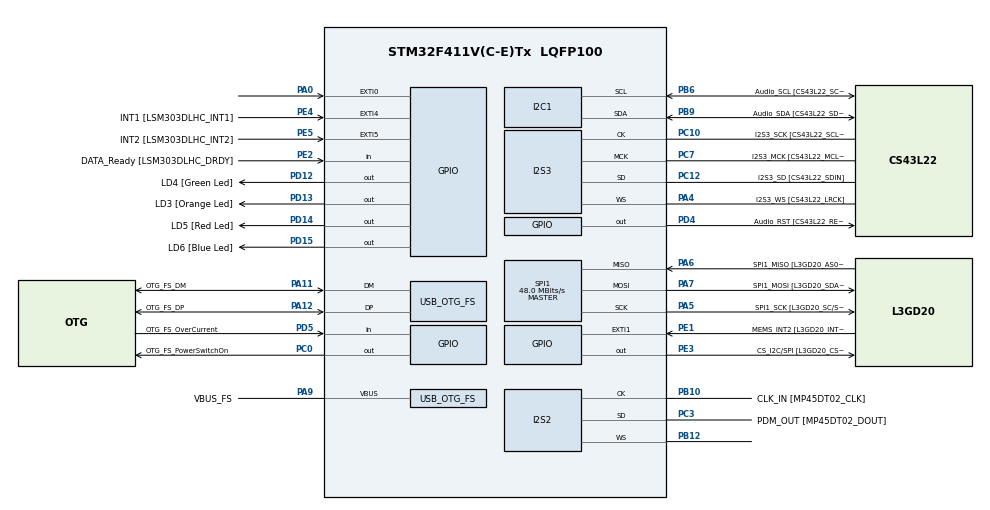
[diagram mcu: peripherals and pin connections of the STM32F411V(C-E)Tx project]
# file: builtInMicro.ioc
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Dma.Request0=SPI3_TX
Dma.Request1=SPI2_RX
Dma.SPI2_RX.1.Direction=DMA_PERIPH_TO_MEMORY
Dma.SPI2_RX.1.FIFOMode=DMA_FIFOMODE_DISABLE
Dma.SPI2_RX.1.Instance=DMA1_Stream3
Dma.SPI2_RX.1.MemDataAlignment=DMA_MDATAALIGN_HALFWORD
Dma.SPI2_RX.1.MemInc=DMA_MINC_ENABLE
Dma.SPI2_RX.1.Mode=DMA_CIRCULAR
Dma.SPI2_RX.1.PeriphDataAlignment=DMA_PDATAALIGN_HALFWORD
Dma.SPI2_RX.1.PeriphInc=DMA_PINC_DISABLE
Dma.SPI2_RX.1.Priority=DMA_PRIORITY_LOW
Dma.SPI3_TX.0.Direction=DMA_MEMORY_TO_PERIPH
Dma.SPI3_TX.0.FIFOMode=DMA_FIFOMODE_DISABLE
Dma.SPI3_TX.0.Instance=DMA1_Stream5
Dma.SPI3_TX.0.MemDataAlignment=DMA_MDATAALIGN_HALFWORD
Dma.SPI3_TX.0.MemInc=DMA_MINC_ENABLE
Dma.SPI3_TX.0.Mode=DMA_CIRCULAR
Dma.SPI3_TX.0.PeriphDataAlignment=DMA_PDATAALIGN_HALFWORD
Dma.SPI3_TX.0.PeriphInc=DMA_PINC_DISABLE
Dma.SPI3_TX.0.Priority=DMA_PRIORITY_LOW
I2S2.AudioFreq=I2S_AUDIOFREQ_48K
I2S2.DataFormat=I2S_DATAFORMAT_32B
I2S2.ErrorAudioFreq=0.15 %
I2S2.FullDuplexMode=I2S_FULLDUPLEXMODE_DISABLE
I2S2.Instance=SPI$Index
I2S2.Mode=I2S_MODE_SLAVE_RX
I2S2.RealAudioFreq=48.076 KHz
I2S2.Standard=I2S_STANDARD_MSB
I2S2.VirtualMode=I2S_MODE_SLAVE
I2S3.AudioFreq=I2S_AUDIOFREQ_48K
I2S3.DataFormat=I2S_DATAFORMAT_24B
I2S3.ErrorAudioFreq=0.15 %
I2S3.FullDuplexMode=I2S_FULLDUPLEXMODE_DISABLE
I2S3.Instance=SPI$Index
I2S3.RealAudioFreq=48.076 KHz
I2S3.VirtualMode=I2S_MODE_MASTER
Mcu.Family=STM32F4
Mcu.Name=STM32F411V(C-E)Tx
Mcu.Package=LQFP100
NVIC.DMA1_Stream3_IRQn=true\:0\:0\:false\:false\:true\:false\:true
NVIC.DMA1_Stream5_IRQn=true\:0\:0\:false\:false\:true\:false\:true
NVIC.OTG_FS_IRQn=true\:0\:0\:false\:false\:true\:true\:true
NVIC.PriorityGroup=NVIC_PRIORITYGROUP_0
PA0-WKUP.GPIO_ModeDefaultEXTI=GPIO_MODE_EVT_RISING
PA0-WKUP.Signal=GPXTI0
PA10.GPIO_Label=OTG_FS_ID
PA10.Signal=USB_OTG_FS_ID
PA11.GPIO_Label=OTG_FS_DM
PA11.Mode=Host_Only
PA11.Signal=USB_OTG_FS_DM
PA12.GPIO_Label=OTG_FS_DP
PA12.Mode=Host_Only
PA12.Signal=USB_OTG_FS_DP
PA13.GPIO_Label=SWDIO
PA13.Mode=Serial_Wire
PA13.Signal=SYS_JTMS-SWDIO
PA14.GPIO_Label=SWCLK
PA14.Mode=Serial_Wire
PA14.Signal=SYS_JTCK-SWCLK
PA4.GPIO_Label=I2S3_WS [CS43L22_LRCK]
PA4.GPIO_Mode=GPIO_MODE_AF_PP
PA4.GPIO_PuPd=GPIO_NOPULL
PA4.GPIO_Speed=GPIO_SPEED_FREQ_LOW
PA4.Mode=Half_Duplex_Master
PA4.Signal=I2S3_WS
PA5.GPIO_Label=SPI1_SCK [L3GD20_SC/SPC]
PA5.Mode=Full_Duplex_Master
PA5.Signal=SPI1_SCK
PA6.GPIO_Label=SPI1_MISO [L3GD20_AS0/SDO]
PA6.Mode=Full_Duplex_Master
PA6.Signal=SPI1_MISO
PA7.GPIO_Label=SPI1_MOSI [L3GD20_SDA/SDI/SDO]
PA7.Mode=Full_Duplex_Master
PA7.Signal=SPI1_MOSI
PA9.GPIO_Label=VBUS_FS
PA9.Mode=Activate_VBUS
PA9.Signal=USB_OTG_FS_VBUS
PB10.GPIO_Label=CLK_IN [MP45DT02_CLK]
PB10.Mode=Half_Duplex_Slave
PB10.Signal=I2S2_CK
PB12.Mode=Half_Duplex_Slave
PB12.Signal=I2S2_WS
PB3.GPIO_Label=SWO
PB3.Signal=SYS_JTDO-SWO
PB6.GPIO_Label=Audio_SCL [CS43L22_SCL]
PB6.GPIO_Mode=GPIO_MODE_AF_OD
PB6.GPIO_PuPd=GPIO_NOPULL
PB6.GPIO_Speed=GPIO_SPEED_FREQ_LOW
PB6.Mode=I2C
PB6.Signal=I2C1_SCL
PB9.GPIO_Label=Audio_SDA [CS43L22_SDA]
PB9.GPIO_Mode=GPIO_MODE_AF_OD
PB9.GPIO_PuPd=GPIO_NOPULL
PB9.GPIO_Speed=GPIO_SPEED_FREQ_LOW
PB9.Mode=I2C
PB9.Signal=I2C1_SDA
PC0.GPIO_Label=OTG_FS_PowerSwitchOn
PC0.PinState=GPIO_PIN_SET
PC0.Signal=GPIO_Output
PC10.GPIO_Label=I2S3_SCK [CS43L22_SCLK]
PC10.GPIO_Mode=GPIO_MODE_AF_PP
PC10.GPIO_PuPd=GPIO_NOPULL
PC10.GPIO_Speed=GPIO_SPEED_FREQ_LOW
PC10.Mode=Half_Duplex_Master
PC10.Signal=I2S3_CK
PC12.GPIO_Label=I2S3_SD [CS43L22_SDIN]
PC12.GPIO_Mode=GPIO_MODE_AF_PP
PC12.GPIO_PuPd=GPIO_NOPULL
PC12.GPIO_Speed=GPIO_SPEED_FREQ_LOW
PC12.Mode=Half_Duplex_Master
PC12.Signal=I2S3_SD
PC14-OSC32_IN.GPIO_Label=PC14-OSC32_IN
PC14-OSC32_IN.Mode=LSE-External-Oscillator
PC14-OSC32_IN.Signal=RCC_OSC32_IN
PC15-OSC32_OUT.GPIO_Label=PC15-OSC32_OUT
PC15-OSC32_OUT.Mode=LSE-External-Oscillator
PC15-OSC32_OUT.Signal=RCC_OSC32_OUT
PC3.GPIO_Label=PDM_OUT [MP45DT02_DOUT]
PC3.Mode=Half_Duplex_Slave
PC3.Signal=I2S2_SD
PC7.GPIO_Label=I2S3_MCK [CS43L22_MCLK]
PC7.GPIO_Mode=GPIO_MODE_AF_PP
PC7.GPIO_PuPd=GPIO_NOPULL
PC7.GPIO_Speed=GPIO_SPEED_FREQ_LOW
PC7.Mode=Master_Clock_Activated
PC7.Signal=I2S3_MCK
PD12.GPIO_Label=LD4 [Green Led]
PD12.GPIO_PuPd=GPIO_NOPULL
PD12.GPIO_Speed=GPIO_SPEED_FREQ_LOW
PD12.Signal=GPIO_Output
PD13.GPIO_Label=LD3 [Orange Led]
PD13.GPIO_PuPd=GPIO_NOPULL
PD13.GPIO_Speed=GPIO_SPEED_FREQ_LOW
PD13.Signal=GPIO_Output
PD14.GPIO_Label=LD5 [Red Led]
PD14.GPIO_PuPd=GPIO_NOPULL
PD14.GPIO_Speed=GPIO_SPEED_FREQ_LOW
PD14.Signal=GPIO_Output
PD15.GPIO_Label=LD6 [Blue Led]
PD15.GPIO_PuPd=GPIO_NOPULL
PD15.GPIO_Speed=GPIO_SPEED_FREQ_LOW
PD15.Signal=GPIO_Output
PD4.GPIO_Label=Audio_RST [CS43L22_RESET]
PD4.Signal=GPIO_Output
PD5.GPIO_Label=OTG_FS_OverCurrent
PD5.Signal=GPIO_Input
PDM2PCM.CHANNEL1_bit_order=PDM_FILTER_BIT_ORDER_MSB
PDM2PCM.CHANNEL1_in_ptr_channels=1
PDM2PCM.CHANNEL1_out_ptr_channels=1
PE1.GPIO_Label=MEMS_INT2 [L3GD20_INT2]
PE1.GPIO_ModeDefaultEXTI=GPIO_MODE_EVT_RISING
PE1.Signal=GPXTI1
PE2.GPIO_Label=DATA_Ready [LSM303DLHC_DRDY]
PE2.Signal=GPIO_Input
PE3.GPIO_Label=CS_I2C/SPI [L3GD20_CS_I2C/SPI]
PE3.Signal=GPIO_Output
PE4.GPIO_Label=INT1 [LSM303DLHC_INT1]
PE4.GPIO_ModeDefaultEXTI=GPIO_MODE_EVT_RISING
PE4.Signal=GPXTI4
PE5.GPIO_Label=INT2 [LSM303DLHC_INT2]
PE5.GPIO_ModeDefaultEXTI=GPIO_MODE_EVT_RISING
PE5.Signal=GPXTI5
PH0\ -\ OSC_IN.GPIO_Label=PH0-OSC_IN
PH0\ -\ OSC_IN.Mode=HSE-External-Clock-Source
PH0\ -\ OSC_IN.Signal=RCC_OSC_IN
PH1\ -\ OSC_OUT.GPIO_Label=PH1-OSC_OUT
PH1\ -\ OSC_OUT.Mode=HSE-External-Clock-Source
PH1\ -\ OSC_OUT.Signal=RCC_OSC_OUT
ProjectManager.HeapSize=0x200
ProjectManager.StackSize=0x400
ProjectManager.TargetToolchain=STM32CubeIDE
RCC.48MHZClocksFreq_Value=48000000
RCC.AHBFreq_Value=96000000
RCC.APB1CLKDivider=RCC_HCLK_DIV4
RCC.APB1Freq_Value=24000000
RCC.APB1TimFreq_Value=48000000
RCC.APB2Freq_Value=96000000
RCC.APB2TimFreq_Value=96000000
RCC.CortexFreq_Value=96000000
RCC.HCLKFreq_Value=96000000
RCC.HSE_VALUE=8000000
RCC.HSI_VALUE=16000000
RCC.PLLI2SM=5
RCC.PLLI2SN=200
RCC.PLLM=4
RCC.PLLP=RCC_PLLP_DIV4
RCC.PLLQ=8
RCC.SYSCLKFreq_VALUE=96000000
RCC.SYSCLKSource=RCC_SYSCLKSOURCE_PLLCLK
RCC.VCOOutputFreq_Value=384000000
SPI1.BaudRatePrescaler=SPI_BAUDRATEPRESCALER_2
SPI1.CalculateBaudRate=48.0 MBits/s
SPI1.Direction=SPI_DIRECTION_2LINES
SPI1.Mode=SPI_MODE_MASTER
SPI1.VirtualType=VM_MASTER
USB_HOST.BSP.number=1
USB_HOST.USBH_HandleTypeDef=hUsbHostFS
USB_HOST.VirtualModeFS=Cdc
USB_HOST0.BSP.STBoard=false
USB_HOST0.BSP.api=Unknown
USB_HOST0.BSP.i2caddr=0
USB_HOST0.BSP.i2creg=0
USB_HOST0.BSP.instance=PC0
USB_HOST0.BSP.ip=GPIO
USB_HOST0.BSP.mode=Output
USB_HOST0.BSP.name=Drive_VBUS_FS
USB_HOST0.BSP.solution=PC0
USB_OTG_FS.VirtualMode=Host_Only
USB_OTG_FS.phy_itface=HCD_PHY_EMBEDDED
VP_CRC_VS_CRC.Mode=CRC_Activate
VP_PDM2PCM_VS_PDM2PCM.Mode=PDM2PCM_Channel
VP_USB_HOST_VS_USB_HOST_CDC_FS.Mode=CDC_FS
board=STM32F411E-DISCO

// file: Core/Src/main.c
/* USER CODE BEGIN Header */
/**
  ******************************************************************************
  * @file           : main.c
  * @brief          : Main program body
  ******************************************************************************
  * @attention
  *
  * <h2><center>&copy; Copyright (c) 2020 STMicroelectronics.
  * All rights reserved.</center></h2>
  *
  * This software component is licensed by ST under Ultimate Liberty license
  * SLA0044, the "License"; You may not use this file except in compliance with
  * the License. You may obtain a copy of the License at:
  *                             www.st.com/SLA0044
  *
  ******************************************************************************
  */
/* USER CODE END Header */
#include "main.h"
#include "crc.h"
#include "dma.h"
#include "i2c.h"
#include "i2s.h"
#include "pdm2pcm.h"
#include "spi.h"
#include "usb_device.h"
#include "gpio.h"

CRC_HandleTypeDef hcrc;

I2S_HandleTypeDef hi2s2;
I2S_HandleTypeDef hi2s3;
DMA_HandleTypeDef hdma_spi2_rx;
DMA_HandleTypeDef hdma_spi3_tx;

void SystemClock_Config(void);
void SystemClock_Config(void);
static void MX_GPIO_Init(void);
static void MX_DMA_Init(void);
static void MX_I2S2_Init(void);
static void MX_I2S3_Init(void);
static void MX_CRC_Init(void);

uint16_t txBuf[128];
uint16_t pdmRxBuf[128];
uint16_t MidBuffer[16];
uint8_t txstate = 0;
uint8_t rxstate = 0;

uint16_t fifobuf[256];
uint8_t fifo_w_ptr = 0;
uint8_t fifo_r_ptr = 0;
uint8_t fifo_read_enabled = 0;

void FifoWrite(uint16_t data) {
  fifobuf[fifo_w_ptr] = data;
  fifo_w_ptr++;
}

uint16_t FifoRead() {
  uint16_t val = fifobuf[fifo_r_ptr];
  fifo_r_ptr++;
  return val;
}

int main(void)
{

  /* MCU Configuration--------------------------------------------------------*/

  /* Reset of all peripherals, Initializes the Flash interface and the Systick. */
  HAL_Init();

  /* Configure the system clock */
  SystemClock_Config();

  /* Initialize all configured peripherals */
  MX_GPIO_Init();
  MX_DMA_Init();
  MX_I2C1_Init();
  MX_I2S2_Init();
  MX_I2S3_Init();
  MX_SPI1_Init();
  MX_USB_DEVICE_Init();
  MX_CRC_Init();
  MX_PDM2PCM_Init();
  HAL_I2S_Transmit_DMA(&hi2s3, &txBuf[0], 64);
  HAL_I2S_Receive_DMA(&hi2s2, &pdmRxBuf[0],64);
  /* Infinite loop */
  while (1)
  {

    /* USER CODE BEGIN 3 */
    if (rxstate==1) {
          PDM_Filter(&pdmRxBuf[0],&MidBuffer[0], &PDM1_filter_handler);
          for (int i=0; i<16;i++) { FifoWrite(MidBuffer[i]); }
          if (fifo_w_ptr-fifo_r_ptr > 128) fifo_read_enabled=1;
          rxstate=0;

        }

    if (rxstate==2) {
      PDM_Filter(&pdmRxBuf[64],&MidBuffer[0], &PDM1_filter_handler);
      for (int i=0; i<16;i++) { FifoWrite(MidBuffer[i]); }
      rxstate=0;

    }

    if (txstate==1) {
      if (fifo_read_enabled==1) {
      HAL_GPIO_TogglePin(GPIOD, GPIO_PIN_15);
      for (int i=0; i<64;i=i+4) {
        uint16_t data = FifoRead();
        txBuf[i] = data;
        txBuf[i+2] = data;
      }
      }
      txstate=0;
    }

    if (txstate==2) {
      if (fifo_read_enabled==1) {
      for (int i=64; i<128;i=i+4) {
        uint16_t data = FifoRead();
        txBuf[i] = data;
        txBuf[i+2] = data;
      }

    }
      txstate=0;
    }
  }
/* USER CODE END 3 */
}

void HAL_I2S_TxHalfCpltCallback (I2S_HandleTypeDef *hi2s) {
txstate = 1;
}

void HAL_I2S_TxCpltCallback (I2S_HandleTypeDef *hi2s) {
txstate = 2;
}

void HAL_I2S_RxHalfCpltCallback (I2S_HandleTypeDef *hi2s) {
rxstate = 1;
}

void HAL_I2S_RxCpltCallback (I2S_HandleTypeDef *hi2s) {
rxstate = 2;
}

void SystemClock_Config(void)
{
RCC_OscInitTypeDef RCC_OscInitStruct = {0};
RCC_ClkInitTypeDef RCC_ClkInitStruct = {0};
RCC_PeriphCLKInitTypeDef PeriphClkInitStruct = {0};

/** Configure the main internal regulator output voltage
*/
__HAL_RCC_PWR_CLK_ENABLE();
__HAL_PWR_VOLTAGESCALING_CONFIG(PWR_REGULATOR_VOLTAGE_SCALE1);
/** Initializes the RCC Oscillators according to the specified parameters
* in the RCC_OscInitTypeDef structure.
*/
RCC_OscInitStruct.OscillatorType = RCC_OSCILLATORTYPE_HSE;
RCC_OscInitStruct.HSEState = RCC_HSE_BYPASS;
RCC_OscInitStruct.PLL.PLLState = RCC_PLL_ON;
RCC_OscInitStruct.PLL.PLLSource = RCC_PLLSOURCE_HSE;
RCC_OscInitStruct.PLL.PLLM = 4;
RCC_OscInitStruct.PLL.PLLN = 192;
RCC_OscInitStruct.PLL.PLLP = RCC_PLLP_DIV4;
RCC_OscInitStruct.PLL.PLLQ = 8;
if (HAL_RCC_OscConfig(&RCC_OscInitStruct) != HAL_OK)
{
Error_Handler();
}
/** Initializes the CPU, AHB and APB buses clocks
*/
RCC_ClkInitStruct.ClockType = RCC_CLOCKTYPE_HCLK|RCC_CLOCKTYPE_SYSCLK
                          |RCC_CLOCKTYPE_PCLK1|RCC_CLOCKTYPE_PCLK2;
RCC_ClkInitStruct.SYSCLKSource = RCC_SYSCLKSOURCE_PLLCLK;
RCC_ClkInitStruct.AHBCLKDivider = RCC_SYSCLK_DIV1;
RCC_ClkInitStruct.APB1CLKDivider = RCC_HCLK_DIV4;
RCC_ClkInitStruct.APB2CLKDivider = RCC_HCLK_DIV1;

if (HAL_RCC_ClockConfig(&RCC_ClkInitStruct, FLASH_LATENCY_3) != HAL_OK)
{
Error_Handler();
}
PeriphClkInitStruct.PeriphClockSelection = RCC_PERIPHCLK_I2S;
PeriphClkInitStruct.PLLI2S.PLLI2SN = 200;
PeriphClkInitStruct.PLLI2S.PLLI2SM = 5;
PeriphClkInitStruct.PLLI2S.PLLI2SR = 2;
if (HAL_RCCEx_PeriphCLKConfig(&PeriphClkInitStruct) != HAL_OK)
{
Error_Handler();
}
}

void Error_Handler(void)
{
}

/************************ (C) COPYRIGHT STMicroelectronics *****END OF FILE****/
